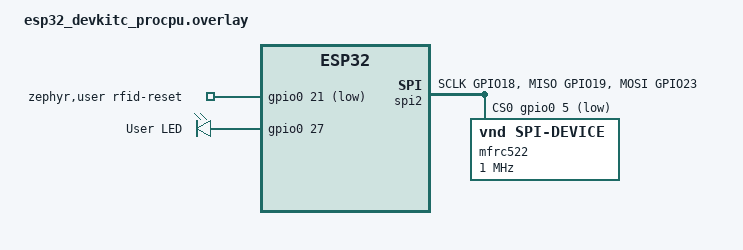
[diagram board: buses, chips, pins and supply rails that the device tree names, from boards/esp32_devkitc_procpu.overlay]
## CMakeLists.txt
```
cmake_minimum_required(VERSION 3.20.0)

find_package(Zephyr REQUIRED HINTS $ENV{ZEPHYR_BASE})
project(wifi_app)
file(GLOB APP_SOURCES "src/*.c")

target_sources(app PRIVATE ${APP_SOURCES})
```

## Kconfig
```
mainmenu "WiFi HTTP Client Application"

config WIFI_SSID
	string "WiFi SSID"
	help
	  SSID of the WiFi network to connect to.

config WIFI_PSK
	string "WiFi Password"
	help
	  WPA2-PSK password for the WiFi network.

source "Kconfig.zephyr"
```

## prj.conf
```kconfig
# Networking
CONFIG_NETWORKING=y
CONFIG_NET_IPV4=y
CONFIG_NET_DHCPV4=y
CONFIG_NET_TCP=y

# WiFi
CONFIG_WIFI=y
CONFIG_NET_L2_WIFI_MGMT=y
CONFIG_NET_MGMT=y
CONFIG_NET_MGMT_EVENT=y
CONFIG_NET_MGMT_EVENT_INFO=y

# Stack sizes for ESP32
CONFIG_MAIN_STACK_SIZE=8192
CONFIG_NET_TX_STACK_SIZE=4096
CONFIG_NET_RX_STACK_SIZE=4096


CONFIG_SPI=y
CONFIG_GPIO=y

# Network buffers (increased for HTTP)
CONFIG_NET_PKT_RX_COUNT=16
CONFIG_NET_PKT_TX_COUNT=16
CONFIG_NET_BUF_RX_COUNT=64
CONFIG_NET_BUF_TX_COUNT=64

# Logging
CONFIG_LOG=y
CONFIG_NET_LOG=y

# WiFi credentials (edit these)
CONFIG_WIFI_SSID="Ooredoo 5G_0CFCED"
CONFIG_WIFI_PSK="3MWVFVE265"


# Sockets
CONFIG_NET_SOCKETS=y
CONFIG_POSIX_API=y

# HTTP Client
CONFIG_HTTP_CLIENT=y

# DNS Resolver
CONFIG_DNS_RESOLVER=y
CONFIG_DNS_SERVER_IP_ADDRESSES=y
CONFIG_DNS_SERVER1="8.8.8.8"

CONFIG_FLASH=y
CONFIG_FLASH_MAP=y
CONFIG_FILE_SYSTEM=y
CONFIG_FILE_SYSTEM_LITTLEFS=y

CONFIG_JSON_LIBRARY=y
```

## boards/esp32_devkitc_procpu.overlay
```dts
/ {
    zephyr,user {
        rfid-reset-gpios = <&gpio0 21 GPIO_ACTIVE_LOW>;
    };

    /* Add LED node here */
    leds {
        compatible = "gpio-leds";
        led0: led_0 {
            gpios = <&gpio0 27 GPIO_ACTIVE_HIGH>;  /* D12 = GPIO12 */
            label = "User LED";
        };
    };

    aliases {
        led0 = &led0;
    };
};

&pinctrl {
    spim2_default: spim2_default {
        group1 {
            pinmux = <SPIM2_SCLK_GPIO18>,
                     <SPIM2_MISO_GPIO19>;
        };
        group2 {
            pinmux = <SPIM2_MOSI_GPIO23>;
            output-low;
        };
    };
};

&spi2 {
    status = "okay";
    pinctrl-0 = <&spim2_default>;
    pinctrl-names = "default";
    cs-gpios = <&gpio0 5 GPIO_ACTIVE_LOW>;

    mfrc522: mfrc522@0 {
        compatible = "vnd,spi-device";
        reg = <0>;
        spi-max-frequency = <1000000>;
    };
};
```

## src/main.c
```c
#include <zephyr/kernel.h>
#include <zephyr/logging/log.h>
#include <string.h>
#include <zephyr/drivers/gpio.h>
#include "wifi.h"
#include "http_client.h"
#include "storage.h"
#include "rfid.h"
#include "employee_sync.h"
#include "attendance.h"

LOG_MODULE_REGISTER(app, LOG_LEVEL_INF);

/* LED from alias */
#define LED0_NODE DT_ALIAS(led0)
static const struct gpio_dt_spec led = GPIO_DT_SPEC_GET(LED0_NODE, gpios);

/* API Endpoints */
#define API_HOST "jsonplaceholder.typicode.com"
#define API_PORT "80"
#define API_PATH "/todos/1"

#define WEBHOOK_HOST "webhook.site"
#define WEBHOOK_PORT "80"
#define WEBHOOK_PATH "/bac98fb5-b92e-4d75-b4ae-5c0e6beafe33"
#define CARD_COOLDOWN_MS 3000  /* ignore repeat reads of the same card within 3s */

/* File name to store our GET data in LittleFS */
#define DATA_FILE "last_api_response.txt"

/* Forward declaration (required before K_TIMER_DEFINE) */
void led_timer_expiry(struct k_timer *timer);

/* Static timer definition — no k_timer_init needed! */
K_TIMER_DEFINE(led_timer, led_timer_expiry, NULL);

/* Buffers */
static uint8_t response_buffer[2048];
static char saved_data[2048];

static char last_uid[32] = {0};
static int64_t last_read_time = 0;

/* Callback: turn LED off when timer expires */
void led_timer_expiry(struct k_timer *timer)
{
    gpio_pin_set_dt(&led, 0);  /* Turn off after delay */
}

int main(void)
{
    int ret;

    LOG_INF("ESP32 IoT Application Starting...");

    /* 1. Initialize LittleFS */
    ret = storage_init();
    if (ret < 0) {
        LOG_ERR("Storage initialization failed: %d", ret);
        return ret;
    }
    LOG_INF("Storage mounted successfully.");

    /* 2. Check flash for data from the LAST boot */
    ret = storage_load(DATA_FILE, saved_data, sizeof(saved_data) - 1);
    if (ret > 0) {
        LOG_INF("=== DATA SURVIVED THE REBOOT ===");
        LOG_INF("%.200s", saved_data);
        LOG_INF("=================================");
    } else {
        LOG_INF("No existing data found (normal on first boot).");
    }

    /* 3. Initialize LED */
    if (!gpio_is_ready_dt(&led)) {
        LOG_ERR("LED GPIO not ready");
        return -ENODEV;
    }
    ret = gpio_pin_configure_dt(&led, GPIO_OUTPUT_INACTIVE);
    if (ret < 0) {
        LOG_ERR("LED config failed: %d", ret);
        return ret;
    }

    /* 4. Connect to WiFi */
    ret = wifi_init_and_connect();
    if (ret < 0) {
        LOG_ERR("Failed to connect to network");
        return ret;
    }

    k_sleep(K_MSEC(500));

    if (employees_sync() < 0) {
        LOG_WRN("Employee sync failed, using stale local cache");
    }

    if (rfid_init() != 0) {
        LOG_ERR("Failed to initialize MFRC522");
    } else {
        LOG_INF("MFRC522 RFID Reader Ready!");
    }

    employees_sync_start_periodic(15);
    attendance_start_reporting();

    rfid_uid_t uid;
    while (1) {
        if (rfid_is_new_card_present() && rfid_read_card_serial(&uid)) {
            char uid_str[32] = {0};
            char tmp[4];

            for (uint8_t i = 0; i < uid.size; i++) {
                snprintf(tmp, sizeof(tmp), "%02X", uid.uidByte[i]);
                strcat(uid_str, tmp);
            }

            int64_t now = k_uptime_get();
            bool same_card = (strcmp(uid_str, last_uid) == 0);
            bool cooldown_passed = (now - last_read_time) >= CARD_COOLDOWN_MS;

            if (!same_card || cooldown_passed) {
                bool authorized = employees_is_authorized(uid_str);

                if (authorized) {
                    LOG_INF("Access granted: %s", uid_str);
                    gpio_pin_set_dt(&led, 1);
                    k_timer_start(&led_timer, K_MSEC(1000), K_NO_WAIT);
                } else {
                    LOG_WRN("Access denied: %s", uid_str);
                }

                attendance_report_event(uid_str, authorized);

                strncpy(last_uid, uid_str, sizeof(last_uid) - 1);
                last_uid[sizeof(last_uid) - 1] = '\0';  /* Ensure null termination */
                last_read_time = now;
            }
        }
        k_msleep(250);
    }

    /* Unreachable — kept only for completeness */
    LOG_INF("Application finished.");
    return 0;
}
```

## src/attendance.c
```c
#include <zephyr/kernel.h>
#include <zephyr/logging/log.h>
#include <string.h>
#include <stdio.h>

#include "attendance.h"
#include "http_client.h"
#include "server_config.h"

LOG_MODULE_REGISTER(attendance, LOG_LEVEL_INF);

#define EVENT_HOST APP_SERVER_HOST
#define EVENT_PORT APP_SERVER_PORT
#define EVENT_PATH "/events"

#define MAX_UID_LEN 24
#define EVENT_QUEUE_DEPTH 16

struct attendance_event {
	char uid[MAX_UID_LEN];
	bool authorized;
};

K_MSGQ_DEFINE(event_msgq, sizeof(struct attendance_event), EVENT_QUEUE_DEPTH, 4);

static void post_event(const struct attendance_event *evt)
{
	static uint8_t resp_buf[512];
	char body[96];

	int n = snprintf(body, sizeof(body),
			  "{\"rfid_uid\":\"%s\",\"authorized\":%s}",
			  evt->uid, evt->authorized ? "true" : "false");
	if (n < 0 || (size_t)n >= sizeof(body)) {
		LOG_ERR("Event body build failed for UID %s", evt->uid);
		return;
	}

	int ret = http_post(EVENT_HOST, EVENT_PORT, EVENT_PATH,
			     "application/json", body,
			     resp_buf, sizeof(resp_buf));
	if (ret < 0) {
		LOG_WRN("Failed to report event for %s (%s): %d — dropped, not retried",
			evt->uid, evt->authorized ? "authorized" : "denied", ret);
	} else {
		LOG_INF("Reported event: %s (%s)",
			evt->uid, evt->authorized ? "authorized" : "denied");
	}
}

static void reporter_thread(void *p1, void *p2, void *p3)
{
	ARG_UNUSED(p1);
	ARG_UNUSED(p2);
	ARG_UNUSED(p3);

	struct attendance_event evt;

	while (1) {
		/* Blocks here until the scan loop enqueues something —
		 * costs nothing while idle. */
		k_msgq_get(&event_msgq, &evt, K_FOREVER);
		post_event(&evt);
	}
}

#define REPORTER_THREAD_STACK_SIZE 4096
#define REPORTER_THREAD_PRIORITY   7

K_THREAD_STACK_DEFINE(reporter_thread_stack, REPORTER_THREAD_STACK_SIZE);
static struct k_thread reporter_thread_data;

void attendance_start_reporting(void)
{
	k_thread_create(&reporter_thread_data, reporter_thread_stack,
			 K_THREAD_STACK_SIZEOF(reporter_thread_stack),
			 reporter_thread, NULL, NULL, NULL,
			 REPORTER_THREAD_PRIORITY, 0, K_NO_WAIT);
	LOG_INF("Started attendance reporting thread");
}

void attendance_report_event(const char *rfid_uid, bool authorized)
{
	struct attendance_event evt;

	strncpy(evt.uid, rfid_uid, MAX_UID_LEN - 1);
	evt.uid[MAX_UID_LEN - 1] = '\0';
	evt.authorized = authorized;

	/* K_NO_WAIT: never block the scan loop. If the queue's full (server
	 * unreachable for a while), drop this event rather than stall. */
	if (k_msgq_put(&event_msgq, &evt, K_NO_WAIT) != 0) {
		LOG_WRN("Event queue full, dropping event for %s", rfid_uid);
	}
}
```

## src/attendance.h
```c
#ifndef ATTENDANCE_H_
#define ATTENDANCE_H_

#include <stdbool.h>

/**
 * Start the background thread that reports scan events to the server.
 * Call once, after WiFi is connected.
 */
void attendance_start_reporting(void);

/**
 * Queue a scan event to be reported to the server (entry/exit toggling and
 * "who attempted and was denied" are computed server-side, since the
 * server has the full history — the device just reports what happened
 * locally: which UID scanned, and whether the local whitelist granted it).
 *
 * Non-blocking and never fails loudly: if the report queue is full (e.g.
 * the server's been unreachable for a while), the event is dropped and a
 * warning is logged, but the RFID scan loop is never blocked or delayed
 * waiting on the network.
 *
 * @param rfid_uid   scanned UID, e.g. "04A1B2C3"
 * @param authorized whatever employees_is_authorized() returned for it
 */
void attendance_report_event(const char *rfid_uid, bool authorized);

#endif /* ATTENDANCE_H_ */
```

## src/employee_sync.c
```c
#include <zephyr/kernel.h>
#include <zephyr/logging/log.h>
#include <zephyr/data/json.h>
#include <string.h>
#include <stdlib.h>
#include <errno.h>

#include "employee_sync.h"
#include "storage.h"
#include "http_client.h"
#include "server_config.h"

LOG_MODULE_REGISTER(emp_sync, LOG_LEVEL_INF);

#define SYNC_HOST      APP_SERVER_HOST
#define SYNC_PORT      APP_SERVER_PORT
#define SYNC_PATH_FMT  "/employees?last_sync=%llu"

#define LAST_SYNC_FILE "last_sync.txt"
#define ACCESS_FILE    "access_list.txt"

#define MAX_CHANGES    32   /* max records the server may return per sync */
#define MAX_UIDS       200  /* max UIDs kept in the local whitelist        */
#define MAX_UID_LEN    24

/* ---------- In-RAM mirror of the on-flash whitelist ---------- */
static char whitelist[MAX_UIDS][MAX_UID_LEN];
static size_t whitelist_len;
static bool whitelist_loaded;

/* Protects whitelist[]/whitelist_len against concurrent access from the
 * periodic sync thread and the RFID scan loop (a different thread). */
K_MUTEX_DEFINE(whitelist_mutex);

/* ---------- Wire format for the server's delta response ---------- */
struct access_change {
	const char *rfid_uid;
	int64_t updated_at;
	bool deleted;
};

struct sync_response {
	int64_t server_time;
	struct access_change changes[MAX_CHANGES];
	size_t changes_len;
};

static const struct json_obj_descr change_descr[] = {
	JSON_OBJ_DESCR_PRIM(struct access_change, rfid_uid, JSON_TOK_STRING),
	JSON_OBJ_DESCR_PRIM(struct access_change, updated_at, JSON_TOK_INT64),
	JSON_OBJ_DESCR_PRIM(struct access_change, deleted, JSON_TOK_TRUE),
};

static const struct json_obj_descr response_descr[] = {
	JSON_OBJ_DESCR_PRIM(struct sync_response, server_time, JSON_TOK_INT64),
	JSON_OBJ_DESCR_OBJ_ARRAY(struct sync_response, changes, MAX_CHANGES,
				  changes_len, change_descr, ARRAY_SIZE(change_descr)),
};

/* ---------- Whitelist (de)serialization: one UID per line ----------
 * Callers must hold whitelist_mutex.
 */
static void whitelist_load_locked(void)
{
	static char buf[MAX_UIDS * (MAX_UID_LEN + 1)];
	int ret;

	whitelist_len = 0;
	whitelist_loaded = true;

	ret = storage_load(ACCESS_FILE, buf, sizeof(buf) - 1);
	if (ret <= 0) {
		return; /* no whitelist yet: empty, not an error */
	}
	buf[ret] = '\0';

	char *saveptr = NULL;
	char *line = strtok_r(buf, "\n", &saveptr);

	while (line && whitelist_len < MAX_UIDS) {
		if (line[0] != '\0') {
			strncpy(whitelist[whitelist_len], line, MAX_UID_LEN - 1);
			whitelist[whitelist_len][MAX_UID_LEN - 1] = '\0';
			whitelist_len++;
		}
		line = strtok_r(NULL, "\n", &saveptr);
	}
}

static int whitelist_save_locked(void)
{
	static char buf[MAX_UIDS * (MAX_UID_LEN + 1)];
	size_t off = 0;

	for (size_t i = 0; i < whitelist_len; i++) {
		int n = snprintk(buf + off, sizeof(buf) - off, "%s\n", whitelist[i]);

		if (n < 0 || (size_t)n >= sizeof(buf) - off) {
			LOG_ERR("Whitelist buffer full, truncating save at %zu/%zu",
				i, whitelist_len);
			break;
		}
		off += (size_t)n;
	}
	return storage_save(ACCESS_FILE, buf, off);
}

static int whitelist_find_locked(const char *uid)
{
	for (size_t i = 0; i < whitelist_len; i++) {
		if (strcmp(whitelist[i], uid) == 0) {
			return (int)i;
		}
	}
	return -1;
}

static void whitelist_remove_at_locked(size_t idx)
{
	whitelist[idx][0] = '\0';
	memcpy(whitelist[idx], whitelist[whitelist_len - 1], MAX_UID_LEN);
	whitelist_len--;
}

/* search-and-add / search-and-delete */
static int whitelist_apply_change_locked(const struct access_change *c)
{
	int idx = whitelist_find_locked(c->rfid_uid);

	if (c->deleted) {
		if (idx >= 0) {
			whitelist_remove_at_locked((size_t)idx);
		}
		return 0;
	}

	if (idx >= 0) {
		return 0; /* already authorized, nothing to do */
	}

	if (whitelist_len >= MAX_UIDS) {
		LOG_ERR("Whitelist full (%d), dropping UID %s", MAX_UIDS, c->rfid_uid);
		return -ENOMEM;
	}

	strncpy(whitelist[whitelist_len], c->rfid_uid, MAX_UID_LEN - 1);
	whitelist[whitelist_len][MAX_UID_LEN - 1] = '\0';
	whitelist_len++;
	return 0;
}

/* ---------- Public API ---------- */

int employees_sync(void)
{
	static uint8_t http_buf[4096]; /* size to your expected delta payload */
	uint64_t last_sync = 0;
	int ret;

	storage_load_u64(LAST_SYNC_FILE, &last_sync);

	k_mutex_lock(&whitelist_mutex, K_FOREVER);
	if (!whitelist_loaded) {
		whitelist_load_locked();
	}
	k_mutex_unlock(&whitelist_mutex);

	/* Loop (not recurse) through truncated batches: a large backlog could
	 * otherwise mean dozens of nested stack frames. */
	for (;;) {
		char path[80];

		snprintk(path, sizeof(path), SYNC_PATH_FMT, (unsigned long long)last_sync);

		LOG_INF("Syncing access list since cursor=%llu ...",
			(unsigned long long)last_sync);

		/* Network I/O happens OUTSIDE the lock: a slow/unreachable
		 * server must never block a concurrent employees_is_authorized()
		 * call from the RFID scan thread. */
		ret = http_get(SYNC_HOST, SYNC_PORT, path, http_buf, sizeof(http_buf));
		if (ret < 0) {
			LOG_ERR("Access sync HTTP GET failed: %d", ret);
			return ret;
		}
		if ((size_t)ret >= sizeof(http_buf)) {
			LOG_ERR("Response truncated (increase http_buf), aborting merge");
			return -ENOMEM;
		}
		http_buf[ret] = '\0';

		struct sync_response resp = {0};
		int64_t parsed_mask = json_obj_parse((char *)http_buf, (size_t)ret,
						      response_descr, ARRAY_SIZE(response_descr),
						      &resp);
		if (parsed_mask < 0) {
			LOG_ERR("Failed to parse sync response: %lld", (long long)parsed_mask);
			return -EINVAL;
		}

		LOG_INF("Server returned %zu change(s)", resp.changes_len);

		k_mutex_lock(&whitelist_mutex, K_FOREVER);
		for (size_t i = 0; i < resp.changes_len; i++) {
			whitelist_apply_change_locked(&resp.changes[i]);
		}
		if (resp.changes_len > 0) {
			ret = whitelist_save_locked();
		}
		k_mutex_unlock(&whitelist_mutex);

		if (resp.changes_len > 0 && ret < 0) {
			LOG_ERR("Failed to persist whitelist: %d", ret);
			return ret;
		}

		storage_save_u64(LAST_SYNC_FILE, (uint64_t)resp.server_time);
		last_sync = (uint64_t)resp.server_time;

		if (resp.changes_len < MAX_CHANGES) {
			break; /* caught up */
		}
		LOG_INF("Batch was full (%d changes), fetching more immediately", MAX_CHANGES);
	}

	return 0;
}

struct periodic_sync_args {
	uint32_t interval_sec;
};

static void periodic_sync_thread(void *p1, void *p2, void *p3)
{
	uint32_t interval_sec = (uint32_t)(uintptr_t)p1;
	ARG_UNUSED(p2);
	ARG_UNUSED(p3);

	while (1) {
		int ret = employees_sync();

		if (ret < 0) {
			LOG_WRN("Periodic access sync failed: %d (will retry in %us)",
				ret, interval_sec);
		} else {
			LOG_INF("Periodic access sync OK, next in %us", interval_sec);
		}
		k_sleep(K_SECONDS(interval_sec));
	}
}

#define SYNC_THREAD_STACK_SIZE 4096
#define SYNC_THREAD_PRIORITY   7

K_THREAD_STACK_DEFINE(sync_thread_stack, SYNC_THREAD_STACK_SIZE);
static struct k_thread sync_thread_data;

void employees_sync_start_periodic(uint32_t interval_sec)
{
	k_thread_create(&sync_thread_data, sync_thread_stack,
			 K_THREAD_STACK_SIZEOF(sync_thread_stack),
			 periodic_sync_thread,
			 (void *)(uintptr_t)interval_sec, NULL, NULL,
			 SYNC_THREAD_PRIORITY, 0, K_NO_WAIT);
	LOG_INF("Started periodic access sync thread (every %us)", interval_sec);
}

bool employees_is_authorized(const char *rfid_uid)
{
	bool found;

	k_mutex_lock(&whitelist_mutex, K_FOREVER);
	if (!whitelist_loaded) {
		whitelist_load_locked();
	}
	found = whitelist_find_locked(rfid_uid) >= 0;
	k_mutex_unlock(&whitelist_mutex);

	return found;
}
```

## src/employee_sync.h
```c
#ifndef EMPLOYEE_SYNC_H_
#define EMPLOYEE_SYNC_H_

#include <stddef.h>
#include <stdint.h>
#include <stdbool.h>

/**
 * Sync the local RFID access whitelist with the server using
 * "Method 6: Timestamp Sync + Single File Update".
 *
 * Sends the last sync cursor, receives only the UIDs added/removed since
 * then, and merges them into the on-flash whitelist (/storage/access_list.txt).
 * The cursor is advanced using the value the SERVER returns, never a value
 * computed from the ESP32's own clock, so this stays correct even while
 * NTP is misbehaving.
 *
 * The device does not need or store employee names — only the fact that a
 * given UID is currently authorized.
 *
 * @return 0 on success (even with zero changes), negative errno on
 *         network / parse / storage failure. On failure the on-flash
 *         whitelist and sync cursor are left untouched.
 */
int employees_sync(void);
void employees_sync_start_periodic(uint32_t interval_sec);


/**
 * Check whether a scanned RFID UID is currently authorized.
 * This is a pure membership test against the local whitelist —
 * present = access granted, absent = access denied. Fail-closed:
 * any lookup that can't be resolved (e.g. cache not yet loaded and
 * load fails) returns false.
 *
 * @param rfid_uid  Null-terminated UID string, e.g. "04A1B2C3"
 * @return true if authorized, false otherwise
 */
bool employees_is_authorized(const char *rfid_uid);

#endif /* EMPLOYEE_SYNC_H_ */
```

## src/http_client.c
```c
#include "http_client.h"
#include <zephyr/kernel.h>
#include <zephyr/logging/log.h>
#include <zephyr/net/socket.h>
#include <zephyr/posix/netdb.h>
#include <zephyr/posix/unistd.h>
#include <zephyr/posix/sys/socket.h>
#include <errno.h>
#include <string.h>

LOG_MODULE_REGISTER(http_client, LOG_LEVEL_INF);

/* Hard backstop so a stuck/unreachable server can never hang the device
 * forever, regardless of what the peer does. Applies to both GET and POST. */
#define HTTP_RECV_TIMEOUT_SEC 10

static int connect_to(const char *host, const char *port)
{
    struct addrinfo hints;
    struct addrinfo *res;
    int sock;
    int ret;

    LOG_INF("Resolving %s...", host);

    memset(&hints, 0, sizeof(hints));
    hints.ai_family = AF_INET;
    hints.ai_socktype = SOCK_STREAM;

    ret = getaddrinfo(host, port, &hints, &res);
    if (ret != 0) {
        LOG_ERR("DNS lookup failed: %d", ret);
        return ret;
    }

    sock = socket(res->ai_family, res->ai_socktype, IPPROTO_TCP);
    if (sock < 0) {
        LOG_ERR("Socket creation failed: %d", errno);
        freeaddrinfo(res);
        return -errno;
    }

    struct timeval tv = {
        .tv_sec = HTTP_RECV_TIMEOUT_SEC,
        .tv_usec = 0,
    };
    if (setsockopt(sock, SOL_SOCKET, SO_RCVTIMEO, &tv, sizeof(tv)) < 0) {
        LOG_WRN("Failed to set SO_RCVTIMEO: %d (continuing without it)", errno);
    }

    LOG_INF("Connecting to %s:%s...", host, port);

    ret = connect(sock, res->ai_addr, res->ai_addrlen);
    freeaddrinfo(res);
    if (ret < 0) {
        LOG_ERR("Connect failed: %d", errno);
        close(sock);
        return -errno;
    }

    return sock;
}

/* Reads until the peer closes the connection (server sends
 * "Connection: close") or resp_buf fills up, then strips the HTTP headers
 * off, leaving just the body in resp_buf, null-terminated.
 * Returns the body length, or a negative errno.
 */
static int recv_and_strip_headers(int sock, uint8_t *resp_buf, size_t resp_buf_len)
{
    int total_read = 0;
    int bytes_read;

    while (total_read < (int)resp_buf_len - 1) {
        bytes_read = recv(sock, &resp_buf[total_read], resp_buf_len - total_read - 1, 0);
        if (bytes_read < 0) {
            if (errno == EAGAIN || errno == EWOULDBLOCK) {
                LOG_ERR("recv() timed out after %ds waiting for response",
                        HTTP_RECV_TIMEOUT_SEC);
                return -ETIMEDOUT;
            }
            LOG_ERR("recv() failed: %d", errno);
            return -errno;
        }
        if (bytes_read == 0) {
            break; /* peer closed the connection: response complete */
        }
        total_read += bytes_read;
    }

    if (total_read >= (int)resp_buf_len - 1) {
        LOG_WRN("Response filled resp_buf (%zu bytes); may be truncated", resp_buf_len);
    }
    resp_buf[total_read] = '\0';

    char *body_start = strstr((char *)resp_buf, "\r\n\r\n");
    if (body_start == NULL) {
        LOG_WRN("Could not find end of headers in response");
        return total_read; /* hand back the raw buffer as-is */
    }
    body_start += 4;

    size_t header_len = body_start - (char *)resp_buf;
    size_t body_len = total_read - header_len;

    /* Same buffer is both source and destination: MUST use memmove, not
     * memcpy, since the regions overlap. */
    memmove(resp_buf, body_start, body_len);
    resp_buf[body_len] = '\0';

    return (int)body_len;
}

int http_get(const char *host, const char *port, const char *path,
             uint8_t *resp_buf, size_t resp_buf_len)
{
    int sock = connect_to(host, port);
    if (sock < 0) {
        return sock;
    }

    char tx_buf[512];
    int n = snprintf(tx_buf, sizeof(tx_buf),
                      "GET %s HTTP/1.1\r\n"
                      "Host: %s\r\n"
                      "Connection: close\r\n"
                      "\r\n",
                      path, host);
    if (n < 0 || (size_t)n >= sizeof(tx_buf)) {
        LOG_ERR("GET request too long for tx_buf (path length?)");
        close(sock);
        return -ENOMEM;
    }

    LOG_INF("Sending HTTP GET %s...", path);

    int ret = send(sock, tx_buf, strlen(tx_buf), 0);
    if (ret < 0) {
        LOG_ERR("Failed to send GET request: %d", errno);
        close(sock);
        return -errno;
    }

    ret = recv_and_strip_headers(sock, resp_buf, resp_buf_len);
    close(sock);

    if (ret < 0) {
        LOG_ERR("HTTP GET failed: %d", ret);
    } else {
        LOG_INF("HTTP GET completed successfully (%d byte body)", ret);
    }
    return ret;
}

int http_post(const char *host, const char *port, const char *path,
              const char *content_type, const char *body,
              uint8_t *resp_buf, size_t resp_buf_len)
{
    int sock = connect_to(host, port);
    if (sock < 0) {
        return sock;
    }

    char tx_buf[1024];
    int body_len = strlen(body);

    int n = snprintf(tx_buf, sizeof(tx_buf),
                      "POST %s HTTP/1.1\r\n"
                      "Host: %s\r\n"
                      "Content-Type: %s\r\n"
                      "Content-Length: %d\r\n"
                      "Connection: close\r\n"
                      "\r\n"
                      "%s",
                      path, host, content_type, body_len, body);
    if (n < 0 || (size_t)n >= sizeof(tx_buf)) {
        LOG_ERR("POST request too long for tx_buf (body too large?)");
        close(sock);
        return -ENOMEM;
    }

    LOG_INF("Sending HTTP POST %s...", path);

    int ret = send(sock, tx_buf, strlen(tx_buf), 0);
    if (ret < 0) {
        LOG_ERR("Failed to send POST data: %d", errno);
        close(sock);
        return -errno;
    }

    ret = recv_and_strip_headers(sock, resp_buf, resp_buf_len);
    close(sock);

    if (ret < 0) {
        LOG_ERR("HTTP POST failed: %d", ret);
    } else {
        LOG_INF("HTTP POST completed successfully (%d byte body)", ret);
    }
    return ret;
}
```

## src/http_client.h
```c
#ifndef HTTP_CLIENT_H
#define HTTP_CLIENT_H

#include <stddef.h>
#include <stdint.h>

/**
 * @brief Perform an HTTP GET request.
 * 
 * @param host    The hostname (e.g., "jsonplaceholder.typicode.com")
 * @param port    The port string (e.g., "80" or "443")
 * @param path    The URL path (e.g., "/todos/1")
 * @param resp_buf Buffer to store the HTTP response body
 * @param resp_buf_len Size of the response buffer
 * 
 * @return 0 on success, negative error code on failure.
 */
int http_get(const char *host, const char *port, const char *path,
             uint8_t *resp_buf, size_t resp_buf_len);

/* New POST function */
int http_post(const char *host, const char *port, const char *path,
              const char *content_type, const char *body,
              uint8_t *resp_buf, size_t resp_buf_len);

#endif /* HTTP_CLIENT_H */
```

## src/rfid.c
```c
#include "rfid.h"
#include <zephyr/logging/log.h>

LOG_MODULE_REGISTER(rfid, LOG_LEVEL_INF);

/* MFRC522 Registers */
#define CommandReg      0x01
#define ComIEnReg       0x02
#define DivIEnReg       0x03
#define ComIrqReg       0x04
#define DivIrqReg       0x05
#define ErrorReg        0x06
#define FIFODataReg     0x09
#define FIFOLevelReg    0x0A
#define ControlReg      0x0C
#define BitFramingReg   0x0D
#define ModeReg         0x11
#define TxControlReg    0x14
#define TxASKReg        0x15
#define ModeReg         0x11
#define TModeReg        0x2A
#define TPrescalerReg   0x2B
#define TReloadRegH     0x2C
#define TReloadRegL     0x2D
#define VersionReg      0x37

/* MFRC522 Commands */
#define PCD_Idle        0x00
#define PCD_Transceive  0x0C
#define PCD_SoftReset   0x0F

/* PICC Commands */
#define PICC_CMD_REQA   0x26
#define PICC_CMD_SEL_CL1 0x93
/* SPI Spec (Fixed deprecation warning by removing delay param) */
static const struct spi_dt_spec rfid_spi = SPI_DT_SPEC_GET(
    DT_NODELABEL(mfrc522),
    SPI_WORD_SET(8) | SPI_TRANSFER_MSB
);

/* Reset Pin Spec */
static const struct gpio_dt_spec rst_gpio = GPIO_DT_SPEC_GET(
    DT_PATH(zephyr_user), rfid_reset_gpios
);
/* Low-level Register Read/Write Functions */
static void rfid_write_reg(uint8_t reg, uint8_t value) {
    uint8_t tx_buf[2] = { (reg << 1) & 0x7E, value };
    struct spi_buf buf = { .buf = tx_buf, .len = 2 };
    struct spi_buf_set tx = { .buffers = &buf, .count = 1 };

    spi_write_dt(&rfid_spi, &tx);
}

static uint8_t rfid_read_reg(uint8_t reg) {
    /* Register address formula for MFRC522: ((reg << 1) & 0x7E) | 0x80 */
    uint8_t addr = ((reg << 1) & 0x7E) | 0x80; 
    uint8_t tx_buf[2] = { addr, 0x00 };
    uint8_t rx_buf[2] = { 0, 0 };

    struct spi_buf tx_b = { .buf = tx_buf, .len = 2 };
    struct spi_buf rx_b = { .buf = rx_buf, .len = 2 };
    struct spi_buf_set tx = { .buffers = &tx_b, .count = 1 };
    struct spi_buf_set rx = { .buffers = &rx_b, .count = 1 };

    int err = spi_transceive_dt(&rfid_spi, &tx, &rx);
    if (err) {
        LOG_ERR("SPI Transceive Failed: %d", err);
        return 0;
    }

    /* Index 1 holds the data returned while sending the dummy byte */
    return rx_buf[1]; 
}
static void antenna_on(void) {
    uint8_t value = rfid_read_reg(TxControlReg);
    if ((value & 0x03) != 0x03) {
        rfid_write_reg(TxControlReg, value | 0x03);
    }
}

int rfid_init(void) {
    if (!spi_is_ready_dt(&rfid_spi)) {
        LOG_ERR("SPI device not ready");
        return -ENODEV;
    }

    if (rst_gpio.port && device_is_ready(rst_gpio.port)) {
        /* Configure as output */
        gpio_pin_configure_dt(&rst_gpio, GPIO_OUTPUT_ACTIVE);
        
        /* Hardware Reset Sequence */
        gpio_pin_set_dt(&rst_gpio, 1); /* Assert reset (LOW) */
        k_msleep(50);
        gpio_pin_set_dt(&rst_gpio, 0); /* Release reset (HIGH - 3.3V) */
        k_msleep(50);
    }

    /* Soft Reset */
    rfid_write_reg(CommandReg, PCD_SoftReset);
    k_msleep(50);

    /* Timer setup & Antenna configuration */
    rfid_write_reg(TModeReg, 0x80);
    rfid_write_reg(TPrescalerReg, 0xA9);
    rfid_write_reg(TReloadRegH, 0x03);
    rfid_write_reg(TReloadRegL, 0xE8);
    rfid_write_reg(TxASKReg, 0x40);
    rfid_write_reg(ModeReg, 0x3D);

    antenna_on();

    uint8_t ver = rfid_read_reg(VersionReg);
    LOG_INF("MFRC522 Version: 0x%02X", ver);

    return (ver == 0x00 || ver == 0xFF) ? -EIO : 0;
}

static int communicate_picc(uint8_t command, uint8_t wait_irq, uint8_t *send_data, 
                             uint8_t send_len, uint8_t *back_data, uint8_t *back_len) {
    uint8_t irq_en = 0x77;
    uint8_t wait_irq_mask = wait_irq;

    rfid_write_reg(ComIEnReg, irq_en | 0x80);
    rfid_write_reg(ComIrqReg, 0x7F);
    rfid_write_reg(FIFOLevelReg, 0x80);
    rfid_write_reg(CommandReg, PCD_Idle);

    for (uint8_t i = 0; i < send_len; i++) {
        rfid_write_reg(FIFODataReg, send_data[i]);
    }

    rfid_write_reg(CommandReg, command);
    if (command == PCD_Transceive) {
        rfid_write_reg(BitFramingReg, rfid_read_reg(BitFramingReg) | 0x80);
    }

    uint16_t i = 2000;
    uint8_t n;
    do {
        n = rfid_read_reg(ComIrqReg);
        i--;
    } while ((i != 0) && !(n & 0x01) && !(n & wait_irq_mask));

    rfid_write_reg(BitFramingReg, rfid_read_reg(BitFramingReg) & (~0x80));

    if (i == 0) {
        return -ETIMEDOUT;
    }

    if (rfid_read_reg(ErrorReg) & 0x1B) {
        return -EIO;
    }

    if (back_data && back_len) {
        uint8_t len = rfid_read_reg(FIFOLevelReg);
        if (len > *back_len) len = *back_len;
        *back_len = len;

        for (uint8_t j = 0; j < len; j++) {
            back_data[j] = rfid_read_reg(FIFODataReg);
        }
    }

    return 0;
}

bool rfid_is_new_card_present(void) {
    uint8_t req_mode = PICC_CMD_REQA;
    uint8_t back_data[16];
    uint8_t back_len = sizeof(back_data);

    rfid_write_reg(BitFramingReg, 0x07);
    int status = communicate_picc(PCD_Transceive, 0x30, &req_mode, 1, back_data, &back_len);

    return (status == 0 && back_len == 2);
}

bool rfid_read_card_serial(rfid_uid_t *uid) {
    uint8_t cmd_buffer[2] = { PICC_CMD_SEL_CL1, 0x20 };
    uint8_t back_data[16];
    uint8_t back_len = sizeof(back_data);

    rfid_write_reg(BitFramingReg, 0x00);
    int status = communicate_picc(PCD_Transceive, 0x30, cmd_buffer, 2, back_data, &back_len);

    if (status == 0 && back_len >= 4) {
        uid->size = 4;
        for (int i = 0; i < 4; i++) {
            uid->uidByte[i] = back_data[i];
        }
        return true;
    }

    return false;
}
```

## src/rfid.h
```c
#ifndef RFID_H_
#define RFID_H_

#include <zephyr/kernel.h>
#include <zephyr/drivers/spi.h>
#include <zephyr/drivers/gpio.h>
#include <stdbool.h>

#define RFID_UID_MAX_LEN 10

typedef struct {
    uint8_t uidByte[RFID_UID_MAX_LEN];
    uint8_t size;
    uint8_t sak;
} rfid_uid_t;

/**
 * @brief Initialize the MFRC522 RFID reader over SPI.
 * @return 0 on success, negative error code on failure.
 */
int rfid_init(void);

/**
 * @brief Check if a new RFID card/tag is present.
 * @return true if a card is detected, false otherwise.
 */
bool rfid_is_new_card_present(void);

/**
 * @brief Read the UID from the detected card.
 * @param uid Pointer to an rfid_uid_t struct to populate.
 * @return true if reading succeeded, false otherwise.
 */
bool rfid_read_card_serial(rfid_uid_t *uid);

#endif /* RFID_H_ */
```

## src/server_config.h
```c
#ifndef SERVER_CONFIG_H_
#define SERVER_CONFIG_H_

/* Update once here — both employee_sync.c and attendance.c use this. */
#define APP_SERVER_HOST "192.168.1.246"
#define APP_SERVER_PORT "8000"


#endif /* SERVER_CONFIG_H_ */
```

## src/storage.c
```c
#include <zephyr/kernel.h>
#include <zephyr/fs/fs.h>
#include <zephyr/fs/littlefs.h> /* Required header for the littlefs state structure */
#include <zephyr/storage/flash_map.h>
#include "storage.h"

#define STORAGE_PARTITION_NODE DT_NODELABEL(storage_partition)

/* Declare the mandatory LittleFS backend cache structure */
static struct fs_littlefs lfs_storage_data;

static struct fs_mount_t storage_mnt = {
    .type = FS_LITTLEFS,
    .mnt_point = "/storage",
    .storage_dev = (void *)DT_FIXED_PARTITION_ID(STORAGE_PARTITION_NODE),
    /* Fix: Pass the address of the allocated state block instead of NULL */
    .fs_data = &lfs_storage_data,
};

int storage_init(void)
{
    int ret = fs_mount(&storage_mnt);
    if (ret < 0 && ret != -EALREADY) {
        printk("Failed to mount LittleFS (%d)\n", ret);
        return ret;
    }
    return 0;
}

int storage_save(const char *filename, const void *data, size_t len)
{
    struct fs_file_t file;
    char path[64]; /* Explicitly allocated size array bounds */
    int ret;

    snprintk(path, sizeof(path), "/storage/%s", filename);
    fs_file_t_init(&file);

    ret = fs_open(&file, path, FS_O_CREATE | FS_O_WRITE);
    if (ret < 0) return ret;

    /* FS_O_WRITE does NOT truncate the file — it only lets you overwrite
     * bytes from the start. If this save is SHORTER than whatever was
     * written here last time, the old trailing bytes stay on disk past
     * the new content. On the next boot, storage_load() reads that
     * leftover data right along with the real content (e.g. a stale
     * whitelist line for an employee who was just deleted). Explicitly
     * truncating to 0 here guarantees the file on disk is exactly what
     * we're about to write, nothing more. */
    ret = fs_truncate(&file, 0);
    if (ret < 0) {
        fs_close(&file);
        return ret;
    }

    ret = fs_write(&file, data, len);
    fs_close(&file);

    return ret; 
}

int storage_load(const char *filename, void *data, size_t len)
{
    struct fs_file_t file;
    char path[64]; /* Explicitly allocated size array bounds */
    int ret;

    snprintk(path, sizeof(path), "/storage/%s", filename);
    fs_file_t_init(&file);

    ret = fs_open(&file, path, FS_O_READ);
    if (ret < 0) return ret; 

    ret = fs_read(&file, data, len);
    fs_close(&file);

    return ret; 
}


int storage_save_u64(const char *filename, uint64_t value) {
    char buf[32];
    snprintk(buf, sizeof(buf), "%llu", value);
    return storage_save(filename, buf, strlen(buf));
}

int storage_load_u64(const char *filename, uint64_t *value) {
    char buf[32];
    int ret = storage_load(filename, buf, sizeof(buf) - 1);
    if (ret > 0) {
        buf[ret] = '\0';
        *value = strtoull(buf, NULL, 10);
        return 0;
    }
    return ret;  // negative on error
}
```

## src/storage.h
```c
#ifndef STORAGE_H_
#define STORAGE_H_

#include <stddef.h>

int storage_init(void);
int storage_save(const char *filename, const void *data, size_t len);
/* Changed from char *buffer to const void *data */
int storage_load(const char *filename, void *data, size_t len);
int storage_save_u64(const char *filename, uint64_t value);
int storage_load_u64(const char *filename, uint64_t *value);

#endif /* STORAGE_H_ */
```

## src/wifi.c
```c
#include "wifi.h"
#include <zephyr/kernel.h>
#include <zephyr/logging/log.h>
#include <zephyr/net/wifi_mgmt.h>
#include <zephyr/net/net_if.h>
#include <zephyr/net/net_event.h>
#include <string.h>

LOG_MODULE_REGISTER(wifi, LOG_LEVEL_INF);

static struct net_mgmt_event_callback wifi_cb;
static struct net_mgmt_event_callback ipv4_cb;
static K_SEM_DEFINE(ip_obtained_sem, 0, 1);

static void wifi_event_handler(struct net_mgmt_event_callback *cb,
                               uint64_t mgmt_event, struct net_if *iface)
{
    if (mgmt_event == NET_EVENT_WIFI_CONNECT_RESULT) {
        LOG_INF("WiFi connected");
    } else if (mgmt_event == NET_EVENT_WIFI_DISCONNECT_RESULT) {
        LOG_INF("WiFi disconnected");
    }
}

static void ipv4_event_handler(struct net_mgmt_event_callback *cb,
                               uint64_t mgmt_event, struct net_if *iface)
{
    if (mgmt_event == NET_EVENT_IPV4_ADDR_ADD) {
        struct net_if_ipv4 *ipv4 = iface->config.ip.ipv4;

        if (ipv4) {
            char addr_str[NET_IPV4_ADDR_LEN];

            for (int i = 0; i < NET_IF_MAX_IPV4_ADDR; i++) {
                if (ipv4->unicast[i].ipv4.is_used) {
                    net_addr_ntop(AF_INET,
                                  &ipv4->unicast[i].ipv4.address.in_addr,
                                  addr_str, sizeof(addr_str));
                    LOG_INF("IP Address: %s", addr_str);
                }
            }
        }
        k_sem_give(&ip_obtained_sem);
    }
}

static int connect_wifi(void)
{
    struct net_if *iface = net_if_get_default();
    struct wifi_connect_req_params params = {
        .ssid = CONFIG_WIFI_SSID,
        .ssid_length = strlen(CONFIG_WIFI_SSID),
        .psk = CONFIG_WIFI_PSK,
        .psk_length = strlen(CONFIG_WIFI_PSK),
        .channel = WIFI_CHANNEL_ANY,
        .band = WIFI_FREQ_BAND_2_4_GHZ,
        .security = WIFI_SECURITY_TYPE_PSK,
    };

    LOG_INF("Connecting to %s...", CONFIG_WIFI_SSID);
    return net_mgmt(NET_REQUEST_WIFI_CONNECT, iface, &params, sizeof(params));
}

int wifi_init_and_connect(void)
{
    int ret;

    net_mgmt_init_event_callback(&wifi_cb, wifi_event_handler,
                                 NET_EVENT_WIFI_CONNECT_RESULT |
                                 NET_EVENT_WIFI_DISCONNECT_RESULT);
    net_mgmt_add_event_callback(&wifi_cb);

    net_mgmt_init_event_callback(&ipv4_cb, ipv4_event_handler,
                                 NET_EVENT_IPV4_ADDR_ADD);
    net_mgmt_add_event_callback(&ipv4_cb);

    k_sleep(K_SECONDS(2));

    ret = connect_wifi();
    if (ret) {
        LOG_ERR("WiFi connect request failed: %d", ret);
        return ret;
    }

    /* Block until DHCP gives us an IP */
    LOG_INF("Waiting for IP address...");
    ret = k_sem_take(&ip_obtained_sem, K_SECONDS(30));
    if (ret < 0) {
        LOG_ERR("Timeout waiting for IP address");
        return ret;
    }

    return 0;
}
```
